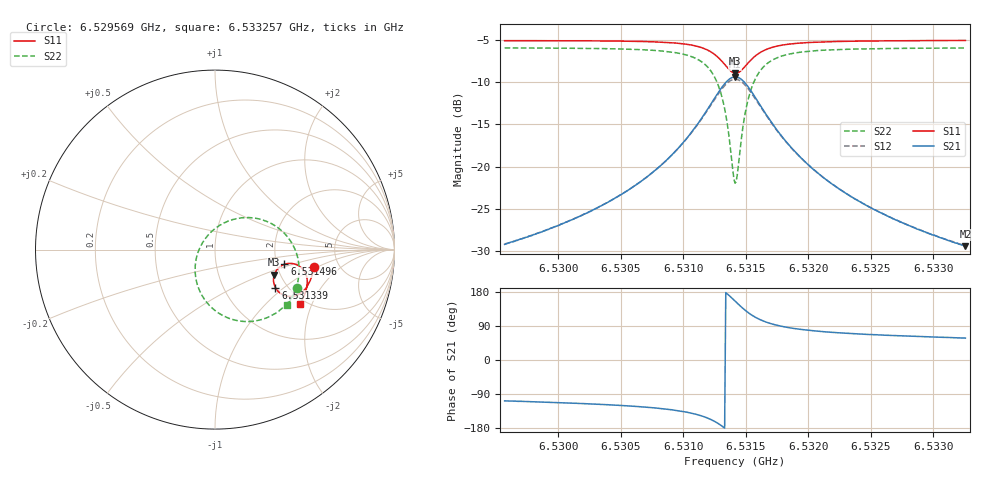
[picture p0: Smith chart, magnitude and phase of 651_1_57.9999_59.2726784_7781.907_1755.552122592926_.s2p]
#  HZ  S  RI  R  50.00
! Rohde & Schwarz Vector Network Analyzer
! Rohde-Schwarz,ZNB20-2Port,1311601062101988,3.16
! Created: UTC 3/21/2024, 1:19:27 AM
! freq[Hz]  re:S11  im:S11  re:S21  im:S21  re:S12  im:S12  re:S22  im:S22
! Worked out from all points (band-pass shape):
!   401 points, 6.529569 GHz to 6.533257 GHz, reference 50 ohm
!   highest |S21| = -9.33 dB at 6.531413 GHz (marker M1); lowest = -29.5 dB at 6.533257 GHz (marker M2)
!   |S21| within 3 dB of the highest: 6.53123 GHz to 6.531599 GHz (368.4 kHz wide, 0.00564 % of centre)
!   lowest |S11| = -8.9 dB at 6.531413 GHz (marker M3), VSWR 2.12, Z = 93.2 - j29.8 ohm
!   |S11| at or under -10 dB: nowhere
!   |S22| runs from -22.0 to -5.9 dB; largest |S21 - S12| = 0.015
!   S11 on the Smith chart (normalised r, x): 6.529569 GHz: 3.25, -0.94; 6.531339 GHz: 1.74, -0.87; 6.531496 GHz: 2.21, -0.43; 6.533257 GHz: 1.84, -1.64
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6.5295689e9  0.5516 -0.0988  -0.0106 -0.0328  -0.0114 -0.0327  0.459 -0.2163
6.5301867e9  0.5384 -0.1512  -0.0215 -0.0464  -0.0228 -0.046  0.4231 -0.2747
6.5305186e9  0.5256 -0.1832  -0.0352 -0.0598  -0.0367 -0.059  0.3879 -0.3148
6.5308045e9  0.5061 -0.2156  -0.0607 -0.0787  -0.0629 -0.077  0.3307 -0.3589
6.5310165e9  0.4757 -0.244  -0.1055 -0.0981  -0.1084 -0.0941  0.2409 -0.3944
6.5311825e9  0.423 -0.2611  -0.1875 -0.1005  -0.1894 -0.0923  0.0923 -0.3876
6.5312747e9  0.3725 -0.2485  -0.2651 -0.0623  -0.2622 -0.0508  -0.0337 -0.3081
6.5313116e9  0.3505 -0.2311  -0.2972 -0.0258  -0.291 -0.0144  -0.0803 -0.2407
6.5313393e9  0.3366 -0.2115  -0.3159 0.0119  -0.307 0.0224  -0.1038 -0.1744
6.5313946e9  0.3265 -0.1582  -0.3218 0.1078  -0.3087 0.113  -0.095 -0.0161
6.531413e9  0.3306 -0.1391  -0.3112 0.1408  -0.2976 0.1437  -0.0713 0.0353
6.5314315e9  0.3389 -0.1215  -0.2939 0.1709  -0.281 0.1714  -0.0378 0.0813
6.5314684e9  0.3642 -0.0938  -0.2458 0.217  -0.2352 0.214  0.0487 0.1477
6.531496e9  0.3872 -0.0818  -0.204 0.2366  -0.1959 0.2322  0.1205 0.1726
6.5315237e9  0.4103 -0.0769  -0.1635 0.2443  -0.1574 0.2396  0.1889 0.1785
6.5315606e9  0.4376 -0.0787  -0.1166 0.2411  -0.1125 0.237  0.267 0.1646
6.5316528e9  0.4822 -0.1023  -0.0405 0.2051  -0.039 0.2027  0.3893 0.0877
6.5317911e9  0.5077 -0.142  0.00373 0.1499  0.00505 0.1491  0.4542 -0.0214
6.5320308e9  0.514 -0.1894  0.0212 0.0952  0.0224 0.095  0.4682 -0.1328
6.5323259e9  0.5072 -0.2273  0.0228 0.0634  0.0238 0.0631  0.4548 -0.2044
6.5326486e9  0.496 -0.2583  0.0212 0.0455  0.0221 0.0451  0.4359 -0.252
6.5332572e9  0.4716 -0.3056  0.0179 0.0285  0.0185 0.0281  0.4011 -0.3096
